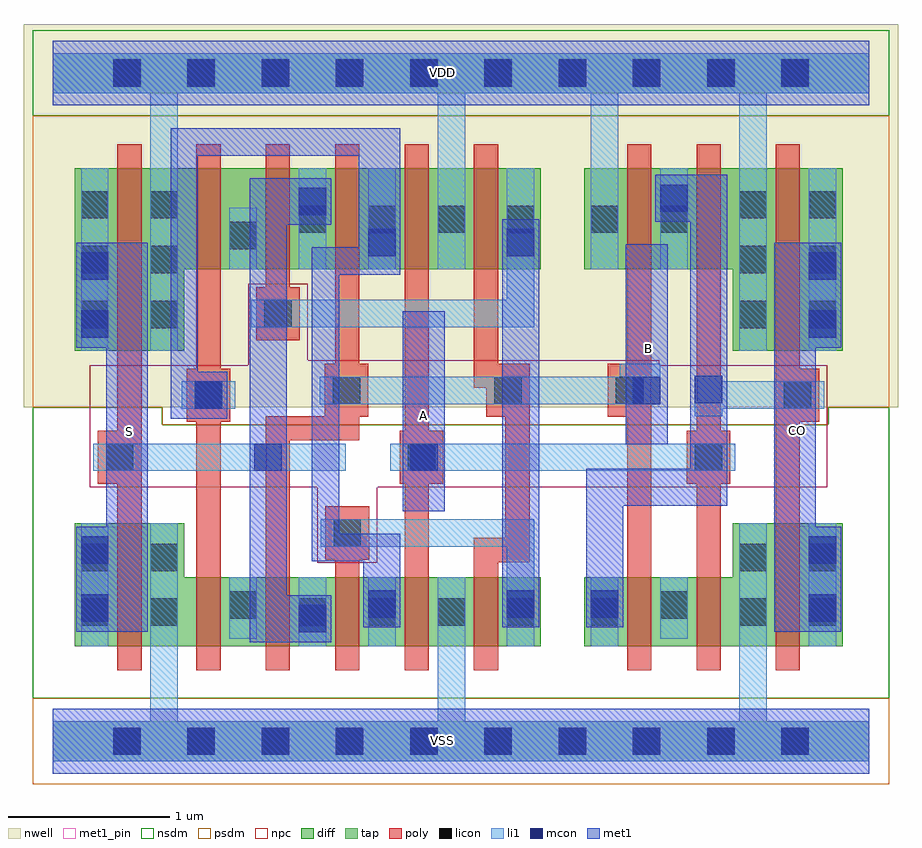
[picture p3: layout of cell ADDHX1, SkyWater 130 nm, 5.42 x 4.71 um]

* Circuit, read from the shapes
.subckt ADDHX1 A B CO S VDD VSS
XM1 VSS n1 S VSS sky130_fd_pr__nfet_01v8 w=0.76 l=0.15
XM2 n2 n3 VSS VSS sky130_fd_pr__nfet_01v8 w=0.425 l=0.15
XM3 n1 B n2 VSS sky130_fd_pr__nfet_01v8 w=0.425 l=0.15
XM4 n3 n4 n1 VSS sky130_fd_pr__nfet_01v8 w=0.425 l=0.15
XM5 VSS A n3 VSS sky130_fd_pr__nfet_01v8 w=0.425 l=0.15
XM6 n4 B VSS VSS sky130_fd_pr__nfet_01v8 w=0.425 l=0.15
XM7 n5 B n6 VSS sky130_fd_pr__nfet_01v8 w=0.425 l=0.15
XM8 VSS A n5 VSS sky130_fd_pr__nfet_01v8 w=0.425 l=0.15
XM9 CO n6 VSS VSS sky130_fd_pr__nfet_01v8 w=0.76 l=0.15
XM10 VDD n1 S VDD sky130_fd_pr__pfet_01v8 w=1.13 l=0.15
XM11 n7 n3 VDD VDD sky130_fd_pr__pfet_01v8 w=0.625 l=0.15
XM12 n1 n4 n7 VDD sky130_fd_pr__pfet_01v8 w=0.625 l=0.15
XM13 n3 B n1 VDD sky130_fd_pr__pfet_01v8 w=0.625 l=0.15
XM14 VDD A n3 VDD sky130_fd_pr__pfet_01v8 w=0.625 l=0.15
XM15 n4 B VDD VDD sky130_fd_pr__pfet_01v8 w=0.625 l=0.15
XM16 n6 B VDD VDD sky130_fd_pr__pfet_01v8 w=0.625 l=0.15
XM17 VDD A n6 VDD sky130_fd_pr__pfet_01v8 w=0.625 l=0.15
XM18 CO n6 VDD VDD sky130_fd_pr__pfet_01v8 w=1.13 l=0.15
.ends

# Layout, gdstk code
from math import pi, radians
import gdstk
lib = gdstk.Library(unit=1e-6, precision=1e-09)
def R(c, l, rs):  # rectangles x0, y0, x1, y1
    for r in rs: c.add(gdstk.rectangle(r[:2], r[2:], *l))
def A(c, l, x, y, w, h, nx, ny, dx, dy):  # array of equal rectangles
    R(c, l, [(x+i*dx, y+j*dy, x+i*dx+w, y+j*dy+h) for i in range(nx) for j in range(ny)])
def P(c, l, *ps):  # polygons
    for p in ps: c.add(gdstk.Polygon(p, *l))
nwell = (64, 20)
diff = (65, 20)
tap = (65, 44)
poly = (66, 20)
licon = (66, 44)
li1 = (67, 20)
mcon = (67, 44)
met1_pin = (68, 16)
met1 = (68, 20)
nsdm = (93, 44)
psdm = (94, 20)
npc = (95, 20)

pfet_01v8_cdns_716492285 = lib.new_cell('pfet_01v8_CDNS_7164922852235')
R(pfet_01v8_cdns_716492285, nwell, [(-0.255,-0.18,0.385,0.805)])
R(pfet_01v8_cdns_716492285, diff, [(-0.075,0,0,0.625), (0,0,0.15,0.625), (0.15,0,0.205,0.625)])
R(pfet_01v8_cdns_716492285, poly, [(0,-0.15,0.15,-0.095), (0,-0.095,0.15,0), (0,0,0.15,0.625), (0,0.625,0.15,0.72), (0,0.72,0.15,0.775)])
R(pfet_01v8_cdns_716492285, psdm, [(0.045,-0.13,0.215,0.755)])

nfet_01v8_cdns_716492285 = lib.new_cell('nfet_01v8_CDNS_7164922852277')
R(nfet_01v8_cdns_716492285, diff, [(-0.055,0,0,0.425), (0,0,0.15,0.425), (0.15,0,0.415,0.425)])
R(nfet_01v8_cdns_716492285, poly, [(0,-0.15,0.15,-0.095), (0,-0.095,0.15,0), (0,0,0.15,0.425), (0,0.425,0.15,0.52), (0,0.52,0.15,0.575)])
R(nfet_01v8_cdns_716492285, licon, [(0.205,0.125,0.375,0.295)])
R(nfet_01v8_cdns_716492285, li1, [(0.205,0,0.375,0.425)])
R(nfet_01v8_cdns_716492285, nsdm, [(-0.065,-0.13,0.555,0.555)])

c_pfet_01v8_cdns_716492285 = lib.new_cell('pfet_01v8_CDNS_7164922852237')
R(c_pfet_01v8_cdns_716492285, nwell, [(-0.405,-0.18,0.385,0.805)])
R(c_pfet_01v8_cdns_716492285, diff, [(-0.225,0,0,0.625), (0,0,0.15,0.625), (0.15,0,0.205,0.625)])
R(c_pfet_01v8_cdns_716492285, poly, [(0,-0.15,0.15,-0.095), (0,-0.095,0.15,0), (0,0,0.15,0.625), (0,0.625,0.15,0.72), (0,0.72,0.15,0.775)])
R(c_pfet_01v8_cdns_716492285, licon, [(-0.225,0.225,-0.055,0.395)])
R(c_pfet_01v8_cdns_716492285, li1, [(-0.225,0,-0.055,0.625)])
R(c_pfet_01v8_cdns_716492285, psdm, [(-0.235,-0.13,0.215,0.755)])

c_nfet_01v8_cdns_716492285 = lib.new_cell('nfet_01v8_CDNS_7164922852254')
R(c_nfet_01v8_cdns_716492285, diff, [(-0.055,0,0,0.425), (0,0,0.15,0.425), (0.15,0,0.205,0.425)])
R(c_nfet_01v8_cdns_716492285, poly, [(0,-0.15,0.15,-0.095), (0,-0.095,0.15,0), (0,0,0.15,0.425), (0,0.425,0.15,0.52), (0,0.52,0.15,0.575)])
R(c_nfet_01v8_cdns_716492285, nsdm, [(-0.065,-0.13,0.215,0.555)])

c_nfet_01v8_cdns_716492285_ = lib.new_cell('nfet_01v8_CDNS_716492285226')
R(c_nfet_01v8_cdns_716492285_, diff, [(-0.225,0,0,0.425), (0,0,0.15,0.425), (0.15,0,0.415,0.425)])
R(c_nfet_01v8_cdns_716492285_, poly, [(0,-0.15,0.15,-0.095), (0,-0.095,0.15,0), (0,0,0.15,0.425), (0,0.425,0.15,0.52), (0,0.52,0.15,0.575)])
R(c_nfet_01v8_cdns_716492285_, licon, [(-0.225,0.125,-0.055,0.295), (0.205,0.125,0.375,0.295)])
R(c_nfet_01v8_cdns_716492285_, li1, [(-0.225,0,-0.055,0.425), (0.205,0,0.375,0.425)])
R(c_nfet_01v8_cdns_716492285_, nsdm, [(-0.235,-0.13,0.555,0.555)])

c_pfet_01v8_cdns_716492285_ = lib.new_cell('pfet_01v8_CDNS_7164922852219')
R(c_pfet_01v8_cdns_716492285_, nwell, [(-0.405,-0.18,0.595,0.805)])
R(c_pfet_01v8_cdns_716492285_, diff, [(-0.225,0,0,0.625), (0,0,0.15,0.625), (0.15,0,0.415,0.625)])
R(c_pfet_01v8_cdns_716492285_, poly, [(0,-0.15,0.15,-0.095), (0,-0.095,0.15,0), (0,0,0.15,0.625), (0,0.625,0.15,0.72), (0,0.72,0.15,0.775)])
R(c_pfet_01v8_cdns_716492285_, licon, [(-0.225,0.225,-0.055,0.395), (0.205,0.225,0.375,0.395)])
R(c_pfet_01v8_cdns_716492285_, li1, [(-0.225,0,-0.055,0.625), (0.205,0,0.375,0.625)])
R(c_pfet_01v8_cdns_716492285_, psdm, [(-0.235,-0.13,0.555,0.755)])

c_nfet_01v8_cdns_716492285__ = lib.new_cell('nfet_01v8_CDNS_7164922852247')
R(c_nfet_01v8_cdns_716492285__, diff, [(-0.075,0,0,0.425), (0,0,0.15,0.425), (0.15,0,0.375,0.425)])
R(c_nfet_01v8_cdns_716492285__, poly, [(0,-0.15,0.15,-0.095), (0,-0.095,0.15,0), (0,0,0.15,0.425), (0,0.425,0.15,0.52), (0,0.52,0.15,0.575)])
R(c_nfet_01v8_cdns_716492285__, nsdm, [(0.045,-0.13,0.385,0.555)])

c_nfet_01v8_cdns_716492285___ = lib.new_cell('nfet_01v8_CDNS_7164922852239')
R(c_nfet_01v8_cdns_716492285___, diff, [(-0.055,0,0,0.425), (0,0,0.15,0.425), (0.15,0,0.375,0.425)])
R(c_nfet_01v8_cdns_716492285___, poly, [(0,-0.15,0.15,-0.095), (0,-0.095,0.15,0), (0,0,0.15,0.425), (0,0.425,0.15,0.52), (0,0.52,0.15,0.575)])
R(c_nfet_01v8_cdns_716492285___, licon, [(0.205,0.125,0.375,0.295)])
R(c_nfet_01v8_cdns_716492285___, li1, [(0.205,0,0.375,0.425)])
R(c_nfet_01v8_cdns_716492285___, nsdm, [(-0.065,-0.13,0.385,0.555)])

c_pfet_01v8_cdns_716492285__ = lib.new_cell('pfet_01v8_CDNS_71649228522237')
R(c_pfet_01v8_cdns_716492285__, nwell, [(-0.235,-0.18,0.405,0.805)])
R(c_pfet_01v8_cdns_716492285__, diff, [(-0.055,0,0,0.625), (0,0,0.15,0.625), (0.15,0,0.225,0.625)])
R(c_pfet_01v8_cdns_716492285__, poly, [(0,-0.15,0.15,-0.095), (0,-0.095,0.15,0), (0,0,0.15,0.625), (0,0.625,0.15,0.72), (0,0.72,0.15,0.775)])
R(c_pfet_01v8_cdns_716492285__, psdm, [(-0.065,-0.13,0.105,0.755)])

c_pfet_01v8_cdns_716492285___ = lib.new_cell('pfet_01v8_CDNS_7164922852217')
R(c_pfet_01v8_cdns_716492285___, nwell, [(-0.235,-0.18,0.595,0.805)])
R(c_pfet_01v8_cdns_716492285___, diff, [(-0.055,0,0,0.625), (0,0,0.15,0.625), (0.15,0,0.415,0.625)])
R(c_pfet_01v8_cdns_716492285___, poly, [(0,-0.15,0.15,-0.095), (0,-0.095,0.15,0), (0,0,0.15,0.625), (0,0.625,0.15,0.72), (0,0.72,0.15,0.775)])
R(c_pfet_01v8_cdns_716492285___, licon, [(0.205,0.225,0.375,0.395)])
R(c_pfet_01v8_cdns_716492285___, li1, [(0.205,0,0.375,0.625)])
R(c_pfet_01v8_cdns_716492285___, psdm, [(-0.065,-0.13,0.555,0.755)])

c_pfet_01v8_cdns_716492285____ = lib.new_cell('pfet_01v8_CDNS_7164922852238')
R(c_pfet_01v8_cdns_716492285____, nwell, [(-0.445,-0.18,0.595,1.31)])
R(c_pfet_01v8_cdns_716492285____, diff, [(-0.265,0,0,1.13), (0,0,0.15,1.13), (0.15,0,0.415,1.13)])
R(c_pfet_01v8_cdns_716492285____, poly, [(0,-0.15,0.15,-0.095), (0,-0.095,0.15,0), (0,0,0.15,1.13), (0,1.13,0.15,1.225), (0,1.225,0.15,1.28)])
A(c_pfet_01v8_cdns_716492285____, licon, -0.225, 0.14, 0.17, 0.17, 1, 3, 0, 0.34)
A(c_pfet_01v8_cdns_716492285____, licon, 0.205, 0.14, 0.17, 0.17, 1, 3, 0, 0.34)
R(c_pfet_01v8_cdns_716492285____, li1, [(-0.225,0,-0.055,1.13), (0.205,0,0.375,1.13)])
R(c_pfet_01v8_cdns_716492285____, psdm, [(-0.405,-0.13,0.555,1.26)])

c_pfet_01v8_cdns_716492285_____ = lib.new_cell('pfet_01v8_CDNS_71649228522115')
R(c_pfet_01v8_cdns_716492285_____, nwell, [(-0.445,-0.18,0.595,1.31)])
R(c_pfet_01v8_cdns_716492285_____, diff, [(-0.265,0,0,1.13), (0,0,0.15,1.13), (0.15,0,0.415,1.13)])
R(c_pfet_01v8_cdns_716492285_____, poly, [(0,-0.15,0.15,-0.095), (0,-0.095,0.15,0), (0,0,0.15,1.13), (0,1.13,0.15,1.225), (0,1.225,0.15,1.28)])
A(c_pfet_01v8_cdns_716492285_____, licon, -0.225, 0.14, 0.17, 0.17, 1, 3, 0, 0.34)
A(c_pfet_01v8_cdns_716492285_____, licon, 0.205, 0.14, 0.17, 0.17, 1, 3, 0, 0.34)
R(c_pfet_01v8_cdns_716492285_____, li1, [(-0.225,0,-0.055,1.13), (0.205,0,0.375,1.13)])
R(c_pfet_01v8_cdns_716492285_____, psdm, [(-0.405,-0.13,0.555,1.26)])

c_pfet_01v8_cdns_716492285______ = lib.new_cell('pfet_01v8_CDNS_7164922852286')
R(c_pfet_01v8_cdns_716492285______, nwell, [(-0.405,-0.18,0.555,0.805)])
R(c_pfet_01v8_cdns_716492285______, diff, [(-0.225,0,0,0.625), (0,0,0.15,0.625), (0.15,0,0.375,0.625)])
R(c_pfet_01v8_cdns_716492285______, poly, [(0,-0.15,0.15,-0.095), (0,-0.095,0.15,0), (0,0,0.15,0.625), (0,0.625,0.15,0.72), (0,0.72,0.15,0.775)])
R(c_pfet_01v8_cdns_716492285______, licon, [(0.205,0.225,0.375,0.395)])
R(c_pfet_01v8_cdns_716492285______, li1, [(0.205,0,0.375,0.625)])
R(c_pfet_01v8_cdns_716492285______, psdm, [(-0.235,-0.13,0.385,0.755)])

c_nfet_01v8_cdns_716492285____ = lib.new_cell('nfet_01v8_CDNS_7164922852234')
R(c_nfet_01v8_cdns_716492285____, diff, [(-0.265,0,0,0.76), (0,0,0.15,0.76), (0.15,0,0.415,0.76)])
R(c_nfet_01v8_cdns_716492285____, poly, [(0,-0.15,0.15,-0.095), (0,-0.095,0.15,0), (0,0,0.15,0.76), (0,0.76,0.15,0.855), (0,0.855,0.15,0.91)])
R(c_nfet_01v8_cdns_716492285____, licon, [(-0.225,0.125,-0.055,0.295), (0.205,0.125,0.375,0.295), (-0.225,0.465,-0.055,0.635), (0.205,0.465,0.375,0.635)])
R(c_nfet_01v8_cdns_716492285____, li1, [(-0.225,0,-0.055,0.76), (0.205,0,0.375,0.76)])
R(c_nfet_01v8_cdns_716492285____, nsdm, [(-0.405,-0.13,0.555,0.89)])

c_nfet_01v8_cdns_716492285_____ = lib.new_cell('nfet_01v8_CDNS_7164922852230')
R(c_nfet_01v8_cdns_716492285_____, diff, [(-0.055,0,0,0.425), (0,0,0.15,0.425), (0.15,0,0.375,0.425)])
R(c_nfet_01v8_cdns_716492285_____, poly, [(0,-0.15,0.15,-0.095), (0,-0.095,0.15,0), (0,0,0.15,0.425), (0,0.425,0.15,0.52), (0,0.52,0.15,0.575)])
R(c_nfet_01v8_cdns_716492285_____, licon, [(0.205,0.125,0.375,0.295)])
R(c_nfet_01v8_cdns_716492285_____, li1, [(0.205,0,0.375,0.425)])
R(c_nfet_01v8_cdns_716492285_____, nsdm, [(-0.065,-0.13,0.385,0.555)])

c_pfet_01v8_cdns_716492285_______ = lib.new_cell('pfet_01v8_CDNS_7164922852248')
R(c_pfet_01v8_cdns_716492285_______, nwell, [(-0.405,-0.18,0.385,0.805)])
R(c_pfet_01v8_cdns_716492285_______, diff, [(-0.225,0,0,0.625), (0,0,0.15,0.625), (0.15,0,0.205,0.625)])
R(c_pfet_01v8_cdns_716492285_______, poly, [(0,-0.15,0.15,-0.095), (0,-0.095,0.15,0), (0,0,0.15,0.625), (0,0.625,0.15,0.72), (0,0.72,0.15,0.775)])
R(c_pfet_01v8_cdns_716492285_______, licon, [(-0.225,0.225,-0.055,0.395)])
R(c_pfet_01v8_cdns_716492285_______, li1, [(-0.225,0,-0.055,0.625)])
R(c_pfet_01v8_cdns_716492285_______, psdm, [(-0.235,-0.13,0.215,0.755)])

l1m1_c_cdns_716492285224 = lib.new_cell('L1M1_C_CDNS_7164922852247')
R(l1m1_c_cdns_716492285224, li1, [(-0.165,-0.165,0.085,0.085)])
R(l1m1_c_cdns_716492285224, mcon, [(-0.085,-0.085,0.085,0.085)])
R(l1m1_c_cdns_716492285224, met1, [(-0.115,-0.145,0.115,0.145)])

l1m1_c_cdns_716492285221 = lib.new_cell('L1M1_C_CDNS_7164922852214')
R(l1m1_c_cdns_716492285221, li1, [(-0.085,-0.165,0.085,0.085)])
R(l1m1_c_cdns_716492285221, mcon, [(-0.085,-0.085,0.085,0.085)])
R(l1m1_c_cdns_716492285221, met1, [(-0.115,-0.145,0.115,0.145)])

l1m1_c_cdns_716492285222 = lib.new_cell('L1M1_C_CDNS_716492285222')
R(l1m1_c_cdns_716492285222, li1, [(-0.085,-0.165,0.085,0.165)])
R(l1m1_c_cdns_716492285222, mcon, [(-0.085,-0.085,0.085,0.085)])
R(l1m1_c_cdns_716492285222, met1, [(-0.115,-0.145,0.115,0.145)])

pyl1con_c_cdns_716492285 = lib.new_cell('PYL1CON_C_CDNS_716492285220')
R(pyl1con_c_cdns_716492285, poly, [(-0.135,-0.165,0.135,0.165)])
R(pyl1con_c_cdns_716492285, licon, [(-0.085,-0.085,0.085,0.085)])
R(pyl1con_c_cdns_716492285, npc, [(-0.185,-0.185,0.185,0.185)])

l1m1_c_cdns_716492285223 = lib.new_cell('L1M1_C_CDNS_716492285223')
R(l1m1_c_cdns_716492285223, li1, [(-0.165,-0.085,0.165,0.085)])
R(l1m1_c_cdns_716492285223, mcon, [(-0.085,-0.085,0.085,0.085)])
R(l1m1_c_cdns_716492285223, met1, [(-0.115,-0.145,0.115,0.145)])

licondiff_c_cdns_7164922 = lib.new_cell('LICONDIFF_C_CDNS_7164922852213')
R(licondiff_c_cdns_7164922, diff, [(-0.125,-0.145,0.125,0.145)])
R(licondiff_c_cdns_7164922, licon, [(-0.085,-0.085,0.085,0.085), (-0.085,-0.085,0.085,0.085)])

l1m1_c_cdns_716492285225 = lib.new_cell('L1M1_C_CDNS_716492285225')
R(l1m1_c_cdns_716492285225, li1, [(-0.085,-0.345,0.085,0.345)])
R(l1m1_c_cdns_716492285225, mcon, [(-0.085,-0.265,0.085,-0.095), (-0.085,0.095,0.085,0.265)])
R(l1m1_c_cdns_716492285225, met1, [(-0.115,-0.325,0.115,0.325)])

addhx1 = lib.new_cell('ADDHX1')
R(addhx1, nwell, [(-0.18,2.07,5.24,4.305), (-0.18,3.875,5.24,4.445)])
A(addhx1, licon, 0.375, -0.085, 0.17, 0.17, 10, 2, 0.46, 4.14)
A(addhx1, mcon, 0.375, -0.085, 0.17, 0.17, 10, 2, 0.46, 4.14)
R(addhx1, met1_pin, [(0.33,1.325,0.59,3.09), (4.47,1.33,4.73,3.09), (2.17,1.425,2.43,2.665), (3.55,1.84,3.81,3.08)])
R(addhx1, met1, [(1.925,0.705,2.155,1.285), (1.895,2.89,2.155,3.635)])
R(addhx1, nsdm, [(-0.125,3.875,5.185,4.405), (-0.125,3.93,5.185,4.35)])
P(addhx1, nsdm, [(5.185,2.07),(4.805,2.07),(4.805,1.96),(0.68,1.96),(0.68,2.07),(-0.125,2.07),(-0.125,0.265),(5.185,0.265)])
R(addhx1, psdm, [(-0.125,-0.265,5.185,0.265), (-0.125,-0.21,5.185,0.21)])
P(addhx1, psdm, [(5.185,3.875),(-0.125,3.875),(-0.125,2.07),(0.68,2.07),(0.68,1.96),(4.805,1.96),(4.805,2.07),(5.185,2.07)])
R(addhx1, npc, [(1.64,1.105,2.01,1.625), (1.21,2.23,1.58,2.835)])
P(addhx1, npc, [(4.8,2.33),(3.76,2.33),(3.76,2.36),(1.21,2.36),(1.21,2.33),(0.23,2.33),(0.23,1.575),(4.8,1.575)])
addhx1.add(gdstk.FlexPath([(1.18,2.925),(1.18,3.305)], 0.17, ends="flush", simple_path=True, layer=67, datatype=20))  # li1
addhx1.add(gdstk.FlexPath([(3.85,0.635),(3.85,1.015)], 0.17, ends="flush", simple_path=True, layer=67, datatype=20))  # li1
addhx1.add(gdstk.FlexPath([(1.18,0.635),(1.18,1.015)], 0.17, ends="flush", simple_path=True, layer=67, datatype=20))  # li1
addhx1.add(gdstk.FlexPath([(1.815,1.76),(0.25,1.76)], 0.17, ends="flush", simple_path=True, layer=67, datatype=20))  # li1
addhx1.add(gdstk.FlexPath([(2.9,3.14),(2.815,3.14)], 0.17, ends=(0.085, 0), simple_path=True, layer=67, datatype=20))  # li1
addhx1.add(gdstk.FlexPath([(2.9,2.65),(2.9,3.14)], 0.17, ends="extended", simple_path=True, layer=67, datatype=20))  # li1
addhx1.add(gdstk.FlexPath([(1.23,2.65),(2.9,2.65)], 0.17, ends=(0, 0.085), simple_path=True, layer=67, datatype=20))  # li1
addhx1.add(gdstk.FlexPath([(2.9,0.8),(2.815,0.8)], 0.17, ends=(0.085, 0), simple_path=True, layer=67, datatype=20))  # li1
addhx1.add(gdstk.FlexPath([(2.9,1.29),(2.9,0.8)], 0.17, ends="extended", simple_path=True, layer=67, datatype=20))  # li1
addhx1.add(gdstk.FlexPath([(1.66,1.29),(2.9,1.29)], 0.17, ends=(0, 0.085), simple_path=True, layer=67, datatype=20))  # li1
addhx1.add(gdstk.FlexPath([(2.09,1.76),(4.23,1.76)], 0.17, ends="flush", simple_path=True, layer=67, datatype=20))  # li1
addhx1.add(gdstk.FlexPath([(1.655,2.175),(3.74,2.175)], 0.17, ends="flush", simple_path=True, layer=67, datatype=20))  # li1
addhx1.add(gdstk.FlexPath([(4.065,2.145),(4.78,2.145)], 0.17, ends=(0.085, 0), simple_path=True, layer=67, datatype=20))  # li1
addhx1.add(gdstk.FlexPath([(4.34,0.59),(4.34,0)], 0.17, ends=(0, 0.125), simple_path=True, layer=67, datatype=20))  # li1
addhx1.add(gdstk.FlexPath([(4.34,0),(5.06,0)], 0.25, ends=(0.085, 0), simple_path=True, layer=67, datatype=20))  # li1
addhx1.add(gdstk.FlexPath([(0.69,0),(2.47,0)], 0.25, ends=(0.085, 0.085), simple_path=True, layer=67, datatype=20))  # li1
addhx1.add(gdstk.FlexPath([(2.47,0),(3.42,0)], 0.25, ends=(0.085, 0.085), simple_path=True, layer=67, datatype=20))  # li1
addhx1.add(gdstk.FlexPath([(3.42,0),(4.34,0)], 0.25, ends=(0.085, 0.085), simple_path=True, layer=67, datatype=20))  # li1
addhx1.add(gdstk.FlexPath([(0,0),(0.69,0)], 0.25, ends=(0, 0.085), simple_path=True, layer=67, datatype=20))  # li1
addhx1.add(gdstk.FlexPath([(2.47,4.14),(3.42,4.14)], 0.25, ends=(0.085, 0.085), simple_path=True, layer=67, datatype=20))  # li1
addhx1.add(gdstk.FlexPath([(2.47,3.55),(2.47,4.14)], 0.17, ends=(0, 0.125), simple_path=True, layer=67, datatype=20))  # li1
addhx1.add(gdstk.FlexPath([(0.69,3.55),(0.69,4.14)], 0.17, ends=(0, 0.125), simple_path=True, layer=67, datatype=20))  # li1
addhx1.add(gdstk.FlexPath([(4.34,4.14),(5.06,4.14)], 0.25, ends=(0.085, 0), simple_path=True, layer=67, datatype=20))  # li1
addhx1.add(gdstk.FlexPath([(4.34,3.55),(4.34,4.14)], 0.17, ends=(0, 0.125), simple_path=True, layer=67, datatype=20))  # li1
addhx1.add(gdstk.FlexPath([(0.69,4.14),(2.47,4.14)], 0.25, ends=(0.085, 0.085), simple_path=True, layer=67, datatype=20))  # li1
addhx1.add(gdstk.FlexPath([(0,4.14),(0.69,4.14)], 0.25, ends=(0, 0.085), simple_path=True, layer=67, datatype=20))  # li1
addhx1.add(gdstk.FlexPath([(0.69,0.59),(0.69,0)], 0.17, ends=(0, 0.125), simple_path=True, layer=67, datatype=20))  # li1
addhx1.add(gdstk.FlexPath([(3.42,3.55),(3.42,4.14)], 0.17, ends=(0, 0.125), simple_path=True, layer=67, datatype=20))  # li1
addhx1.add(gdstk.FlexPath([(3.42,4.14),(4.34,4.14)], 0.25, ends=(0.085, 0.085), simple_path=True, layer=67, datatype=20))  # li1
addhx1.add(gdstk.FlexPath([(2.47,0.59),(2.47,0)], 0.17, ends=(0, 0.125), simple_path=True, layer=67, datatype=20))  # li1
addhx1.add(gdstk.FlexPath([(2.88,1.185),(2.61,1.185)], 0.15, ends=(0.075, 0), simple_path=True, layer=66, datatype=20))  # poly
addhx1.add(gdstk.FlexPath([(2.685,2.83),(2.685,2.19)], 0.15, ends="flush", simple_path=True, layer=66, datatype=20))  # poly
addhx1.add(gdstk.FlexPath([(1.395,1.94),(1.395,1.13)], 0.15, ends=(0.075, 0), simple_path=True, layer=66, datatype=20))  # poly
addhx1.add(gdstk.FlexPath([(1.825,1.94),(1.395,1.94)], 0.15, ends="extended", simple_path=True, layer=66, datatype=20))  # poly
addhx1.add(gdstk.FlexPath([(1.825,2.83),(1.825,1.94)], 0.15, ends=(0, 0.075), simple_path=True, layer=66, datatype=20))  # poly
addhx1.add(gdstk.FlexPath([(4.555,2.325),(4.555,1.445)], 0.15, ends="flush", simple_path=True, layer=66, datatype=20))  # poly
addhx1.add(gdstk.FlexPath([(4.065,2.83),(4.065,1.11)], 0.15, ends="flush", simple_path=True, layer=66, datatype=20))  # poly
addhx1.add(gdstk.FlexPath([(3.635,2.83),(3.635,1.11)], 0.15, ends="flush", simple_path=True, layer=66, datatype=20))  # poly
addhx1.add(gdstk.FlexPath([(0.475,2.325),(0.475,1.445)], 0.15, ends="flush", simple_path=True, layer=66, datatype=20))  # poly
addhx1.add(gdstk.FlexPath([(0.965,2.83),(0.965,1.11)], 0.15, ends="flush", simple_path=True, layer=66, datatype=20))  # poly
addhx1.add(gdstk.FlexPath([(2.255,2.83),(2.255,1.11)], 0.15, ends="flush", simple_path=True, layer=66, datatype=20))  # poly
addhx1.add(gdstk.FlexPath([(2.88,2.34),(2.88,1.185)], 0.15, ends=(0, 0.075), simple_path=True, layer=66, datatype=20))  # poly
addhx1.add(gdstk.FlexPath([(1.61,3.345),(1.335,3.345)], 0.29, ends="flush", simple_path=True, layer=68, datatype=20))  # met1
addhx1.add(gdstk.FlexPath([(2.04,2.975),(2.04,3.055)], 0.17, ends="extended", simple_path=True, layer=68, datatype=20))  # met1
addhx1.add(gdstk.FlexPath([(1.61,0.76),(1.335,0.76)], 0.29, ends="flush", simple_path=True, layer=68, datatype=20))  # met1
addhx1.add(gdstk.FlexPath([(2.3,1.425),(2.3,2.665)], 0.26, ends="flush", simple_path=True, layer=68, datatype=20))  # met1
addhx1.add(gdstk.FlexPath([(3.68,1.84),(3.68,3.08)], 0.26, ends="flush", simple_path=True, layer=68, datatype=20))  # met1
addhx1.add(gdstk.FlexPath([(0.46,0.68),(0.46,3.09)], 0.26, ends="flush", simple_path=True, layer=68, datatype=20))  # met1
addhx1.add(gdstk.FlexPath([(4.6,0.68),(4.6,3.09)], 0.26, ends="flush", simple_path=True, layer=68, datatype=20))  # met1
addhx1.add(gdstk.FlexPath([(0.815,3.715),(0.815,2)], 0.17, ends=(0.085, 0), simple_path=True, layer=68, datatype=20))  # met1
addhx1.add(gdstk.FlexPath([(2.07,3.055),(2.07,3.715)], 0.17, ends="extended", simple_path=True, layer=68, datatype=20))  # met1
addhx1.add(gdstk.FlexPath([(2.07,3.715),(0.815,3.715)], 0.17, ends="extended", simple_path=True, layer=68, datatype=20))  # met1
addhx1.add(gdstk.FlexPath([(1.69,1.2),(1.69,2.975)], 0.17, ends="extended", simple_path=True, layer=68, datatype=20))  # met1
addhx1.add(gdstk.FlexPath([(2.04,1.2),(1.69,1.2)], 0.17, ends="extended", simple_path=True, layer=68, datatype=20))  # met1
addhx1.add(gdstk.FlexPath([(2.04,3.055),(2.07,3.055)], 0.17, ends="extended", simple_path=True, layer=68, datatype=20))  # met1
addhx1.add(gdstk.FlexPath([(1.69,2.975),(2.04,2.975)], 0.17, ends="extended", simple_path=True, layer=68, datatype=20))  # met1
addhx1.add(gdstk.FlexPath([(4.065,1.575),(4.065,3.51)], 0.23, ends=(0.115, 0), simple_path=True, layer=68, datatype=20))  # met1
addhx1.add(gdstk.FlexPath([(3.42,1.575),(3.85,1.575)], 0.23, ends="extended", simple_path=True, layer=68, datatype=20))  # met1
addhx1.add(gdstk.FlexPath([(3.42,0.705),(3.42,1.575)], 0.23, ends=(0, 0.115), simple_path=True, layer=68, datatype=20))  # met1
addhx1.add(gdstk.FlexPath([(1.335,3.49),(1.335,0.615)], 0.23, ends="flush", simple_path=True, layer=68, datatype=20))  # met1
addhx1.add(gdstk.FlexPath([(2.04,0.85),(2.04,1.2)], 0.17, ends=(0, 0.085), simple_path=True, layer=68, datatype=20))  # met1
addhx1.add(gdstk.FlexPath([(2.9,0.705),(2.9,3.235)], 0.23, ends="flush", simple_path=True, layer=68, datatype=20))  # met1
addhx1.add(gdstk.FlexPath([(0,0),(5.06,0)], 0.4, ends="flush", simple_path=True, layer=68, datatype=20))  # met1
addhx1.add(gdstk.FlexPath([(0,4.14),(5.06,4.14)], 0.4, ends="flush", simple_path=True, layer=68, datatype=20))  # met1
addhx1.add(gdstk.FlexPath([(0,0),(5.06,0)], 0.25, ends="flush", simple_path=True, layer=65, datatype=44))  # tap
addhx1.add(gdstk.FlexPath([(0,4.14),(5.06,4.14)], 0.25, ends="flush", simple_path=True, layer=65, datatype=44))  # tap
addhx1.add(gdstk.FlexPath([(0,4.14),(5.06,4.14)], 0.4, ends="flush", simple_path=True, layer=68, datatype=16))  # met1_pin
addhx1.add(gdstk.FlexPath([(0,0),(5.06,0)], 0.4, ends="flush", simple_path=True, layer=68, datatype=16))  # met1_pin
addhx1.add(gdstk.Reference(pfet_01v8_cdns_716492285, (0.89,2.925)))
addhx1.add(gdstk.Reference(nfet_01v8_cdns_716492285, (3.71,0.59), rotation=pi, x_reflection=True))
addhx1.add(gdstk.Reference(c_pfet_01v8_cdns_716492285, (1.9,2.925), rotation=pi, x_reflection=True))
addhx1.add(gdstk.Reference(c_nfet_01v8_cdns_716492285, (1.9,0.59), rotation=pi, x_reflection=True))
addhx1.add(gdstk.Reference(c_nfet_01v8_cdns_716492285_, (2.61,0.59)))
addhx1.add(gdstk.Reference(c_pfet_01v8_cdns_716492285_, (3.71,2.925), rotation=pi, x_reflection=True))
addhx1.add(gdstk.Reference(c_nfet_01v8_cdns_716492285__, (4.14,0.59), rotation=pi, x_reflection=True))
addhx1.add(gdstk.Reference(c_nfet_01v8_cdns_716492285__, (0.89,0.59)))
addhx1.add(gdstk.Reference(c_nfet_01v8_cdns_716492285___, (2.33,0.59), rotation=pi, x_reflection=True))
addhx1.add(gdstk.Reference(c_pfet_01v8_cdns_716492285__, (3.99,2.925)))
addhx1.add(gdstk.Reference(c_pfet_01v8_cdns_716492285___, (2.61,2.925)))
addhx1.add(gdstk.Reference(c_pfet_01v8_cdns_716492285____, (0.55,2.42), rotation=pi, x_reflection=True))
addhx1.add(gdstk.Reference(c_pfet_01v8_cdns_716492285_____, (4.48,2.42)))
addhx1.add(gdstk.Reference(c_pfet_01v8_cdns_716492285______, (1.32,2.925)))
addhx1.add(gdstk.Reference(c_nfet_01v8_cdns_716492285____, (4.48,0.59)))
addhx1.add(gdstk.Reference(c_nfet_01v8_cdns_716492285____, (0.55,0.59), rotation=pi, x_reflection=True))
addhx1.add(gdstk.Reference(c_nfet_01v8_cdns_716492285_____, (1.32,0.59)))
addhx1.add(gdstk.Reference(c_pfet_01v8_cdns_716492285_______, (2.33,2.925), rotation=pi, x_reflection=True))
addhx1.add(gdstk.Reference(l1m1_c_cdns_716492285224, (3.68,2.175), x_reflection=True))
addhx1.add(gdstk.Reference(l1m1_c_cdns_716492285221, (4.065,2.18)))
addhx1.add(gdstk.Reference(l1m1_c_cdns_716492285222, (3.85,3.365)))
addhx1.add(gdstk.Reference(l1m1_c_cdns_716492285222, (3.42,0.85)))
addhx1.add(gdstk.Reference(l1m1_c_cdns_716492285222, (1.61,3.345), rotation=pi, x_reflection=True))
addhx1.add(gdstk.Reference(l1m1_c_cdns_716492285222, (1.61,0.76), rotation=pi, x_reflection=True))
addhx1.add(gdstk.Reference(l1m1_c_cdns_716492285222, (2.04,3.09), rotation=pi, x_reflection=True))
addhx1.add(gdstk.Reference(l1m1_c_cdns_716492285222, (2.04,0.85), rotation=pi, x_reflection=True))
addhx1.add(gdstk.Reference(l1m1_c_cdns_716492285222, (2.9,3.09), rotation=pi, x_reflection=True))
addhx1.add(gdstk.Reference(l1m1_c_cdns_716492285222, (2.9,0.85), rotation=pi, x_reflection=True))
addhx1.add(gdstk.Reference(pyl1con_c_cdns_716492285, (0.415,1.76)))
addhx1.add(gdstk.Reference(pyl1con_c_cdns_716492285, (0.965,2.145), x_reflection=True))
addhx1.add(gdstk.Reference(pyl1con_c_cdns_716492285, (2.285,1.76)))
addhx1.add(gdstk.Reference(pyl1con_c_cdns_716492285, (4.065,1.76)))
addhx1.add(gdstk.Reference(pyl1con_c_cdns_716492285, (4.615,2.145)))
addhx1.add(gdstk.Reference(pyl1con_c_cdns_716492285, (3.575,2.175)))
addhx1.add(gdstk.Reference(pyl1con_c_cdns_716492285, (1.82,2.175), rotation=pi))
addhx1.add(gdstk.Reference(pyl1con_c_cdns_716492285, (2.82,2.175)))
addhx1.add(gdstk.Reference(pyl1con_c_cdns_716492285, (1.825,1.29)))
addhx1.add(gdstk.Reference(pyl1con_c_cdns_716492285, (1.395,2.65), rotation=pi))
addhx1.add(gdstk.Reference(l1m1_c_cdns_716492285223, (2.3,1.76), x_reflection=True))
addhx1.add(gdstk.Reference(l1m1_c_cdns_716492285223, (1.335,1.76)))
addhx1.add(gdstk.Reference(l1m1_c_cdns_716492285223, (0.965,2.145)))
addhx1.add(gdstk.Reference(licondiff_c_cdns_7164922, (1.18,3.135)))
addhx1.add(gdstk.Reference(licondiff_c_cdns_7164922, (3.85,0.845)))
addhx1.add(gdstk.Reference(licondiff_c_cdns_7164922, (1.18,0.845)))
addhx1.add(gdstk.Reference(l1m1_c_cdns_716492285225, (4.77,1.005)))
addhx1.add(gdstk.Reference(l1m1_c_cdns_716492285225, (4.77,2.765)))
addhx1.add(gdstk.Reference(l1m1_c_cdns_716492285225, (0.26,1.005), rotation=pi, x_reflection=True))
addhx1.add(gdstk.Reference(l1m1_c_cdns_716492285225, (0.26,2.765), rotation=pi, x_reflection=True))
addhx1.add(gdstk.Label('VDD', (2.415,4.145), layer=68, texttype=5))
addhx1.add(gdstk.Label('CO', (4.615,1.925), layer=68, texttype=5))
addhx1.add(gdstk.Label('B', (3.695,2.435), layer=68, texttype=5))
addhx1.add(gdstk.Label('S', (0.475,1.92), layer=68, texttype=5))
addhx1.add(gdstk.Label('A', (2.295,2.02), layer=68, texttype=5))
addhx1.add(gdstk.Label('VSS', (2.415,0.005), layer=68, texttype=5))

lib.write_gds('ADDHX1.gds')
